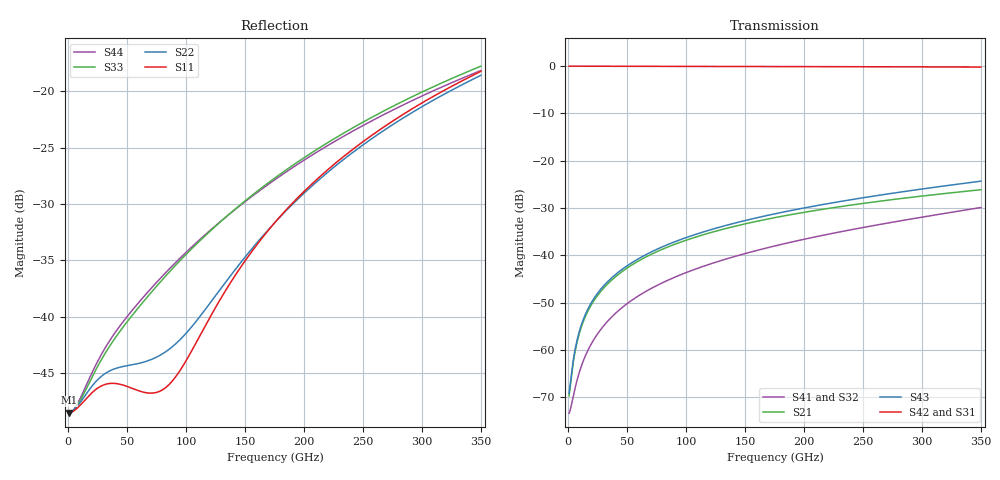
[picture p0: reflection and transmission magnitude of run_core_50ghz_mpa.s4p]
#  Hz  S  RI  R  50
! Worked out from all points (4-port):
!   400 points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, 875 MHz to 350 GHz, reference 50 ohm
!   strongest paths, dB at 875 MHz, 88.38 GHz, 175.9 GHz, 263.4 GHz, 350 GHz:
!     S42: 0.0, -0.1, -0.1, -0.2, -0.2
!     S31: 0.0, -0.1, -0.1, -0.2, -0.2
!     S43: -69.1, -37.3, -31.2, -27.3, -24.3
!     S21: -69.6, -37.9, -32.0, -28.6, -26.1
!     S41: -73.4, -44.8, -38.0, -33.5, -29.9
!     S32: -73.3, -45.0, -38.1, -33.6, -30.0
!   lowest |S11| = -48.5 dB at 875 MHz (marker M1), VSWR 1.01, Z = 50.4 + j0.0106 ohm
!   |S11| at or under -10 dB: start of sweep to end of sweep
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8.75e8  0.00375 0.000105  0.000301 0.000133  0.9957 -0.00204  -0.000204 5.42e-05
        0.000301 0.000133  0.00376 0.000128  -0.000203 5.48e-05  0.9956 -0.00205
        0.9957 -0.00206  -0.00021 4.86e-05  0.00373 0.000102  0.000321 0.000141
        -0.000209 4.94e-05  0.9957 -0.00206  0.000321 0.000142  0.00373 0.000127
7.875e9  0.00382 0.000919  0.000359 0.00119  0.9953 -0.0183  -0.000204 0.000489
         0.000359 0.00119  0.00385 0.00113  -0.000203 0.000495  0.9953 -0.0184
         0.9953 -0.0185  -0.000214 0.00044  0.00394 0.000893  0.000341 0.00127
         -0.000212 0.000447  0.9953 -0.0185  0.000341 0.00127  0.00395 0.00112
1.925e10  0.00409 0.00199  0.000626 0.00287  0.9937 -0.0444  -0.0002 0.00121
          0.000626 0.00287  0.00415 0.0025  -0.000198 0.00122  0.9937 -0.0445
          0.9937 -0.0446  -0.000225 0.0011  0.0049 0.0019  0.000424 0.00306
          -0.000221 0.00111  0.9937 -0.0447  0.000423 0.00307  0.00491 0.00246
3.9375e10  0.00407 0.003  0.00147 0.00564  0.9893 -0.089  -0.000128 0.00256
           0.00147 0.00564  0.00427 0.00403  -0.000125 0.00259  0.9892 -0.0892
           0.9893 -0.0894  -0.000182 0.00235  0.00753 0.0026  0.000593 0.0061
           -0.000172 0.00239  0.9893 -0.0895  0.000591 0.00612  0.00756 0.00373
6.825e10  0.00203 0.00411  0.00342 0.00933  0.9803 -0.1521  0.000245 0.0046
          0.00342 0.00933  0.00257 0.00585  0.000247 0.00465  0.9801 -0.1525
          0.9802 -0.153  0.000142 0.00426  0.0122 0.00227  0.000809 0.0105
          0.000165 0.00432  0.9801 -0.1531  0.0008 0.0105  0.0123 0.00422
2.0125e11  -0.0288 0.0223  0.0225 0.0177  0.8874 -0.4281  0.00687 0.0141
           0.0225 0.0177  -0.0247 0.0258  0.00686 0.0143  0.8867 -0.429
           0.8866 -0.431  0.0063 0.0133  0.0481 -0.0175  0.00289 0.0316
           0.00647 0.0134  0.8866 -0.4313  0.00283 0.0317  0.0485 -0.0118
3.5e11  -0.076 0.0961  0.0494 -0.00053  0.6868 -0.6879  0.0268 0.0197
        0.0494 -0.000507  -0.0668 0.0969  0.0268 0.02  0.6857 -0.6889
        0.6825 -0.6929  0.0255 0.0188  0.0953 -0.0872  0.00982 0.0597
        0.0259 0.0188  0.6833 -0.6935  0.00967 0.06  0.0964 -0.0774
